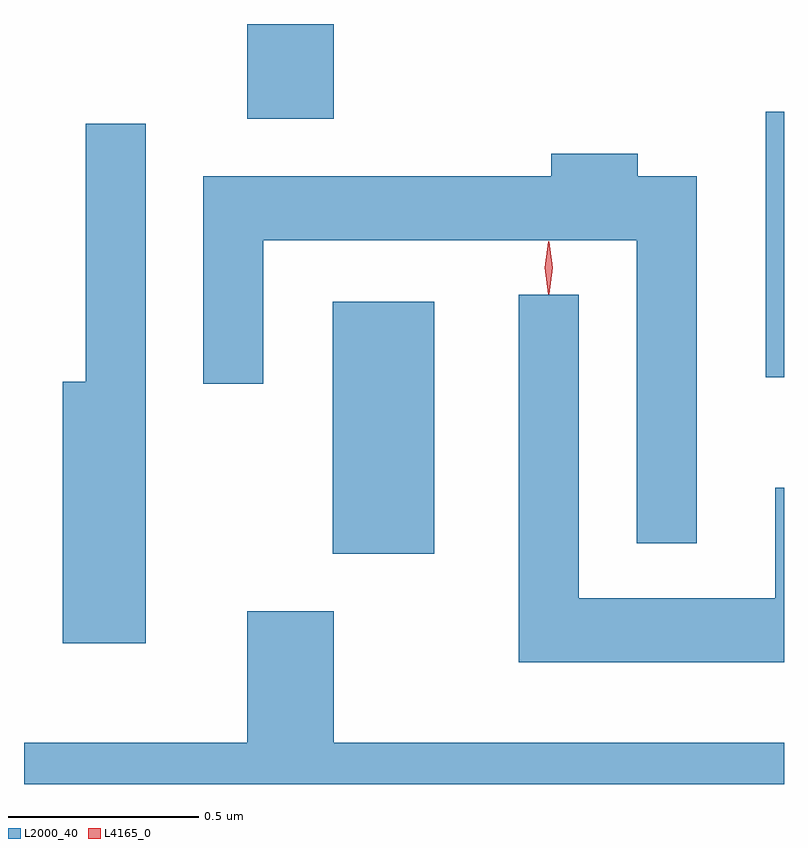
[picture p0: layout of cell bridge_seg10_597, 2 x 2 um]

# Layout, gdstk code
import gdstk
lib = gdstk.Library(unit=1e-6, precision=1e-09)
def R(c, l, rs):  # rectangles x0, y0, x1, y1
    for r in rs: c.add(gdstk.rectangle(r[:2], r[2:], *l))
def P(c, l, *ps):  # polygons
    for p in ps: c.add(gdstk.Polygon(p, *l))
L2000_40 = (2000, 40)
L4165_0 = (4165, 0)

bridge_seg10_597 = lib.new_cell('bridge_seg10_597')
R(bridge_seg10_597, L2000_40, [(782.476,2167.961,782.744,2168.624), (783.616,2168.426,783.664,2169.124), (782.251,2169.106,782.479,2169.355)])
P(bridge_seg10_597, L2000_40, [(781.984,2169.093),(781.826,2169.093),(781.826,2168.414),(781.766,2168.414),(781.766,2167.726),(781.984,2167.726)],
  [(783.434,2168.954),(783.279,2168.954),(783.279,2169.014),(783.051,2169.014),(783.051,2168.954),(782.136,2168.954),(782.136,2168.408),(782.294,2168.408),(782.294,2168.786),(783.276,2168.786),(783.276,2167.988),(783.434,2167.988)],
  [(783.664,2168.134),(783.641,2168.134),(783.641,2167.844),(783.124,2167.844),(783.124,2168.643),(782.966,2168.643),(782.966,2167.676),(783.664,2167.676)],
  [(783.664,2167.464),(782.479,2167.464),(782.479,2167.809),(782.251,2167.809),(782.251,2167.464),(781.664,2167.464),(781.664,2167.355),(783.664,2167.355)])
P(bridge_seg10_597, L4165_0, [(783.044,2168.644),(783.035,2168.713),(783.044,2168.782),(783.045,2168.783),(783.046,2168.782),(783.055,2168.713),(783.046,2168.644),(783.045,2168.644)],
  [(783.044,2168.647),(783.043,2168.648),(783.034,2168.714),(783.043,2168.78),(783.044,2168.78),(783.044,2168.78),(783.054,2168.714),(783.044,2168.648)])

lib.write_gds('bridge_seg10_597.gds')
